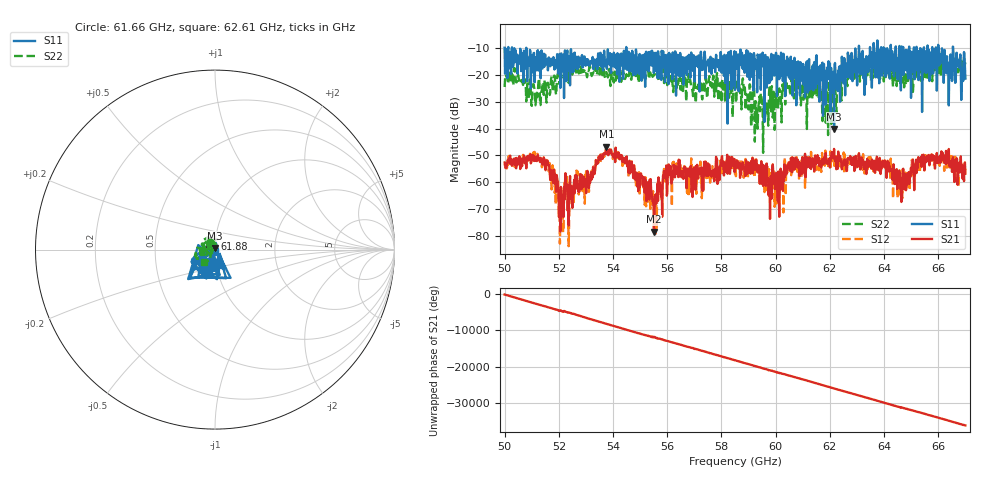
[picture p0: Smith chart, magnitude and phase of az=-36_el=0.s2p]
!Created with skrf (http://scikit-rf.org).
# GHz S RI R 50.0
!freq ReS11 ImS11 ReS21 ImS21 ReS12 ImS12 ReS22 ImS22
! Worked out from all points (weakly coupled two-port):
!   1001 points, 50 GHz to 67 GHz, reference 50 ohm
!   highest |S21| = -46.75 dB at 53.76 GHz (marker M1); lowest = -78.5 dB at 55.51 GHz (marker M2)
!   lowest |S11| = -40.2 dB at 62.16 GHz (marker M3), VSWR 1.02, Z = 49.9 + j0.97 ohm
!   |S11| at or under -10 dB: 50.8 GHz to 54.49 GHz (3.684 GHz wide, 7 % of centre); 54.49 GHz to 63.07 GHz (8.58 GHz wide, 14.6 % of centre); 66.55 GHz to end of sweep (the widest 3 of 30)
!   |S22| runs from -49.1 to -13.9 dB; largest |S21 - S12| = 0.0031
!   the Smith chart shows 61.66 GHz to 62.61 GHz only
!   S11 on the Smith chart (normalised r, x): 61.66 GHz: 0.97, -0.16; 61.88 GHz: 0.99, +0.11; 62.61 GHz: 0.86, -0.10
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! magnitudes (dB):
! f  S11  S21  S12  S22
! 50 GHz  -9.8  -52.7  -53.1  -24.4
! 51.53 GHz  -15.5  -51.9  -52.8  -28.2
! 52.09 GHz  -11.9  -64.3  -61.8  -21.1
! 52.26 GHz  -15.4  -62.4  -63.2  -20.3
! 52.84 GHz  -13.3  -62.6  -58.1  -20.0
! 53.76 GHz  -14.5  -46.7  -47.6  -18.9
! 55.51 GHz  -19.2  -78.5  -64.8  -19.6
! 55.68 GHz  -13.7  -58.2  -64.8  -22.1
! 56.27 GHz  -16.9  -58.2  -53.4  -22.0
! 58.5 GHz  -25.6  -55.4  -57.3  -24.0
! 59.32 GHz  -26.4  -53.5  -53.5  -33.4
! 60.05 GHz  -27.8  -62.0  -65.3  -27.7
! 60.66 GHz  -18.1  -51.8  -51.9  -23.6
! 61.34 GHz  -25.1  -54.1  -52.5  -26.3
! 61.66 GHz  -21.9  -54.0  -51.6  -26.6
! 61.88 GHz  -24.8  -53.1  -52.4  -23.9
! 62.16 GHz  -40.2  -47.6  -50.1  -27.3
! 62.61 GHz  -20.7  -55.8  -53.9  -20.8
! 64.18 GHz  -18.3  -52.7  -53.8  -18.3
! 64.69 GHz  -10.8  -57.8  -55.2  -18.3
! 65.37 GHz  -10.2  -50.6  -52.3  -21.6
! 67 GHz  -21.3  -56.8  -55.1  -15.3
